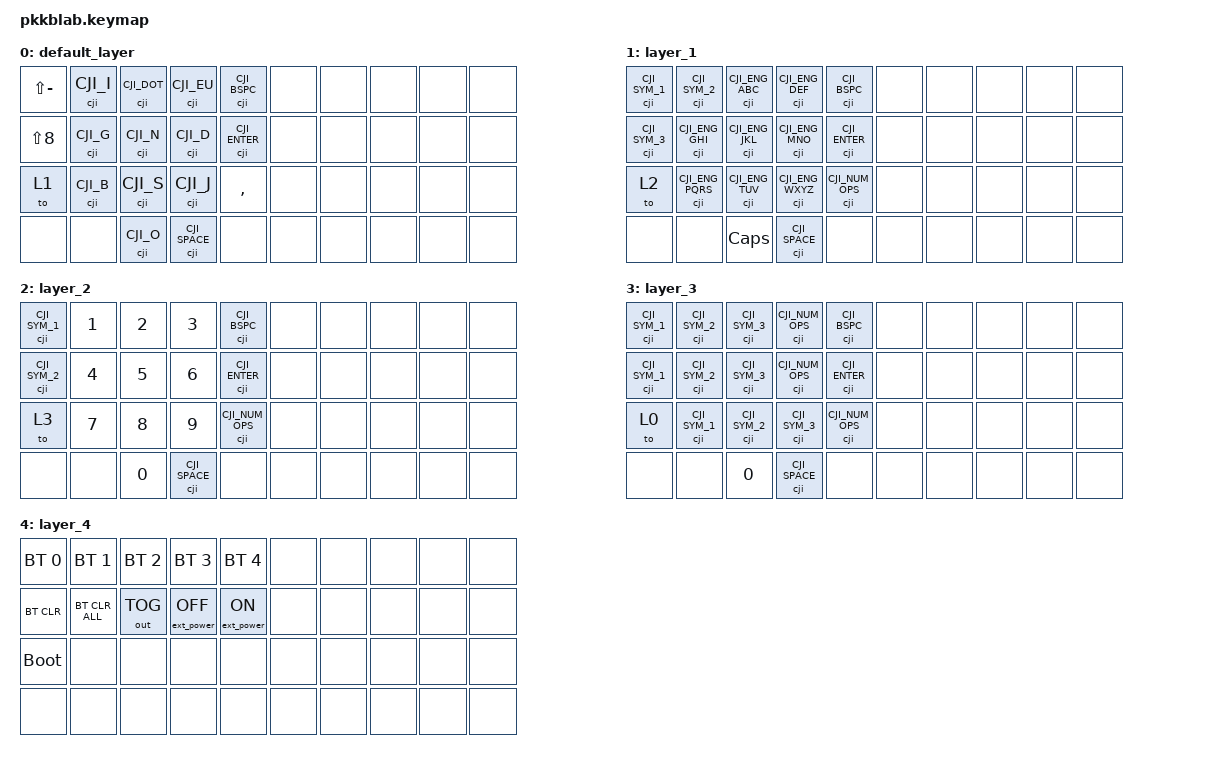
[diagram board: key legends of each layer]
#define ZMK_POINTING_DEFAULT_MOVE_VAL 2500  // default: 600
#define ZMK_POINTING_DEFAULT_SCRL_VAL 40    // default: 10

#include <behaviors.dtsi>
#include <dt-bindings/zmk/bt.h>
#include <dt-bindings/zmk/ext_power.h>
#include <dt-bindings/zmk/keys.h>
#include <dt-bindings/zmk/outputs.h>
#include <dt-bindings/zmk/pointing.h>
#include <dt-bindings/zmk/cheonjiin.h>
#include <behaviors/cheonjiin.dtsi>

/ {
    behaviors {
        taptap: taptap {
            compatible = "zmk,behavior-hold-tap";
            label = "TAPTAP";
            bindings = <&kp>, <&kp>;

            #binding-cells = <2>;
            tapping-term-ms = <200>;
            quick-tap-ms = <180>;
            require-prior-idle-ms = <150>;
            flavor = "tap-preferred";
        };

        holdhold: holdhold {
            compatible = "zmk,behavior-hold-tap";
            label = "HOLDHOLD";
            bindings = <&mo>, <&kp>;

            #binding-cells = <2>;
            flavor = "tap-unless-interrupted";
            require-prior-idle-ms = <150>;
            tapping-term-ms = <200>;
            retro-tap;
            quick-tap-ms = <180>;
        };

        momotap: momotap {
            compatible = "zmk,behavior-hold-tap";
            label = "MOMOTAP";
            bindings = <&mo>, <&kp>;

            #binding-cells = <2>;
            tapping-term-ms = <200>;
            quick-tap-ms = <180>;
            require-prior-idle-ms = <150>;
            flavor = "tap-preferred";
        };
    };

    combos {
        compatible = "zmk,combos";
    };

    keymap {
        compatible = "zmk,keymap";

        /*
         * Layer 0: 한글 디버그
         * OS 입력기를 반드시 한국어 두벌식으로 둔 상태에서 테스트합니다.
         *
         * 1  2   3   4   5
         * _  ㅣ  ㅏ  ㅡ  Backspace
         *
         * 6  7   8   9   10
         * *  ㄱ  ㄴ  ㄷ  Enter
         *
         * 11 12  13  14  15
         * 전환 ㅂ  ㅅ  ㅈ  ,
         *
         * 16 17
         * ㅇ  Space
         */
        default_layer {
            bindings = <
&kp LS(MINUS)      &cji CJI_I  &cji CJI_DOT  &cji CJI_EU     &cji CJI_BSPC   &none  &none  &none  &none  &none
&kp LS(NUMBER_8)   &cji CJI_G  &cji CJI_N    &cji CJI_D      &cji CJI_ENTER  &none  &none  &none  &none  &none
&to 1              &cji CJI_B  &cji CJI_S    &cji CJI_J      &kp COMMA       &none  &none  &none  &none  &none
&none              &none       &cji CJI_O    &cji CJI_SPACE  &none           &none  &none  &none  &none  &none
            >;
        };

        /*
         * Layer 1: 영문 디버그
         */
        layer_1 {
            bindings = <
&cji CJI_SYM_1   &cji CJI_SYM_2    &cji CJI_ENG_ABC   &cji CJI_ENG_DEF   &cji CJI_BSPC   &none  &none  &none  &none  &none
&cji CJI_SYM_3   &cji CJI_ENG_GHI  &cji CJI_ENG_JKL   &cji CJI_ENG_MNO   &cji CJI_ENTER  &none  &none  &none  &none  &none
&to 2            &cji CJI_ENG_PQRS &cji CJI_ENG_TUV   &cji CJI_ENG_WXYZ  &cji CJI_NUM_OPS &none  &none  &none  &none  &none
&none            &none             &kp CAPS           &cji CJI_SPACE     &none           &none  &none  &none  &none  &none
            >;
        };

        /*
         * Layer 2: 숫자 디버그
         */
        layer_2 {
            bindings = <
&cji CJI_SYM_1   &kp N1  &kp N2  &kp N3        &cji CJI_BSPC     &none  &none  &none  &none  &none
&cji CJI_SYM_2   &kp N4  &kp N5  &kp N6        &cji CJI_ENTER    &none  &none  &none  &none  &none
&to 3            &kp N7  &kp N8  &kp N9        &cji CJI_NUM_OPS  &none  &none  &none  &none  &none
&none            &none   &kp N0  &cji CJI_SPACE &none            &none  &none  &none  &none  &none
            >;
        };

        /*
         * Layer 3: 기호 디버그
         * 11번 키만 한글 Layer 0으로 복귀합니다.
         */
        layer_3 {
            bindings = <
&cji CJI_SYM_1   &cji CJI_SYM_2   &cji CJI_SYM_3    &cji CJI_NUM_OPS  &cji CJI_BSPC   &none  &none  &none  &none  &none
&cji CJI_SYM_1   &cji CJI_SYM_2   &cji CJI_SYM_3    &cji CJI_NUM_OPS  &cji CJI_ENTER  &none  &none  &none  &none  &none
&to 0            &cji CJI_SYM_1   &cji CJI_SYM_2    &cji CJI_SYM_3    &cji CJI_NUM_OPS &none  &none  &none  &none  &none
&none            &none            &kp N0            &cji CJI_SPACE    &none           &none  &none  &none  &none  &none
            >;
        };

        layer_4 {
            bindings = <
&bt BT_SEL 0       &bt BT_SEL 1      &bt BT_SEL 2      &bt BT_SEL 3      &bt BT_SEL 4      &none  &none  &none  &none  &none
&bt BT_CLR         &bt BT_CLR_ALL    &out OUT_TOG      &ext_power EP_OFF &ext_power EP_ON   &none  &none  &none  &none  &none
&bootloader        &none             &none             &none             &none              &none  &none  &none  &none  &none
&none              &none             &none             &none             &none              &none  &none  &none  &none  &none
            >;
        };
    };
};
